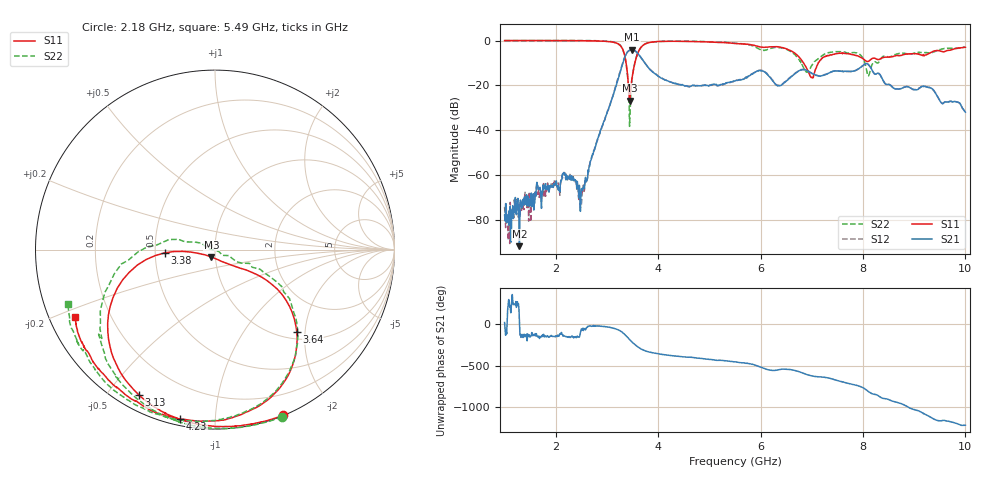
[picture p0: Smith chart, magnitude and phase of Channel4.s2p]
!Agilent Technologies,N5227A,US51270477,A.10.00.00
!File generated by LCAF-GAM-UPV software
!josevmart@iteam.upv.es
!S2P File: Measurements: S11, S21, S12, S22:
# Hz S  dB  R 50
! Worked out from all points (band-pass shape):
!   901 points, 1 GHz to 10 GHz, reference 50 ohm
!   highest |S21| = -4.09 dB at 3.49 GHz (marker M1); lowest = -91.6 dB at 1.29 GHz (marker M2)
!   |S21| within 3 dB of the highest: 3.353 GHz to 3.649 GHz (295.8 MHz wide, 8.45 % of centre)
!   lowest |S11| = -26.7 dB at 3.44 GHz (marker M3), VSWR 1.10, Z = 47.9 - j3.98 ohm
!   |S11| at or under -10 dB: 3.373 GHz to 3.544 GHz (170.7 MHz wide, 4.94 % of centre); 6.839 GHz to 7.126 GHz (286.8 MHz wide, 4.11 % of centre)
!   |S22| runs from -38.3 to 0.0 dB; largest |S21 - S12| = 0.058
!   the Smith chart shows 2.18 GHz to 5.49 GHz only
!   S11 on the Smith chart (normalised r, x): 2.18 GHz: 0.00, -1.49; 3.13 GHz: 0.06, -0.60; 3.38 GHz: 0.56, -0.02; 3.64 GHz: 1.15, -1.81; 4.23 GHz: 0.03, -0.82; 5.49 GHz: 0.08, -0.23
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1e9  -0.00 -30.3  -77.82 20.1  -74.15 -10.5  0.02 -30.4
1.29e9  0.00 -39.3  -91.65 19.1  -77.31 -167.4  0.02 -39.5
2.18e9  -0.02 -67.7  -59.75 -146.1  -58.98 -147.9  0.04 -68.1
2.5e9  -0.07 -79.1  -66.09 -56.8  -73.15 -79.8  0.01 -79.7
3.13e9  -0.77 -117.6  -23.62 -48.8  -23.54 -49.2  -0.65 -120.2
3.28e9  -2.78 -145.4  -12.27 -89.0  -11.92 -92.4  -2.80 -151.9
3.38e9  -11.03 -176.3  -5.79 -146.1  -5.65 -152.1  -11.61 167.7
3.44e9  -26.74 -115.6  -4.35 174.7  -4.33 171.1  -38.26 -172.5
3.49e9  -16.46 -39.3  -4.09 144.9  -4.12 142.8  -17.25 -29.3
3.64e9  -3.80 -45.1  -6.80 70.9  -6.88 69.9  -3.78 -44.7
4e9  -0.42 -88.7  -15.92 2.5  -15.86 2.6  -0.43 -90.1
4.23e9  -0.31 -101.5  -18.42 -15.8  -18.37 -16.1  -0.25 -103.5
5.49e9  -1.28 -154.3  -18.04 -93.4  -17.91 -93.6  -1.16 -159.6
5.5e9  -1.29 -154.5  -18.02 -94.0  -18.00 -94.3  -1.15 -159.5
6.61e9  -4.77 145.4  -15.93 170.2  -15.72 167.5  -5.19 138.3
7e9  -16.50 165.4  -14.61 97.0  -14.59 96.5  -11.12 178.9
7.48e9  -5.78 151.3  -13.57 45.2  -13.46 44.9  -4.94 138.6
7.92e9  -7.07 98.3  -12.51 -24.5  -12.50 -24.5  -5.92 82.3
8.11e9  -9.16 92.3  -10.81 -92.5  -10.89 -92.0  -15.72 87.1
8.5e9  -7.38 56.6  -19.54 173.1  -19.55 173.3  -7.39 64.7
9.5e9  -4.58 -27.4  -26.72 -84.2  -26.76 -83.8  -4.01 -22.1
1e10  -3.00 -55.5  -31.92 -137.1  -31.80 -136.2  -2.90 -64.8
